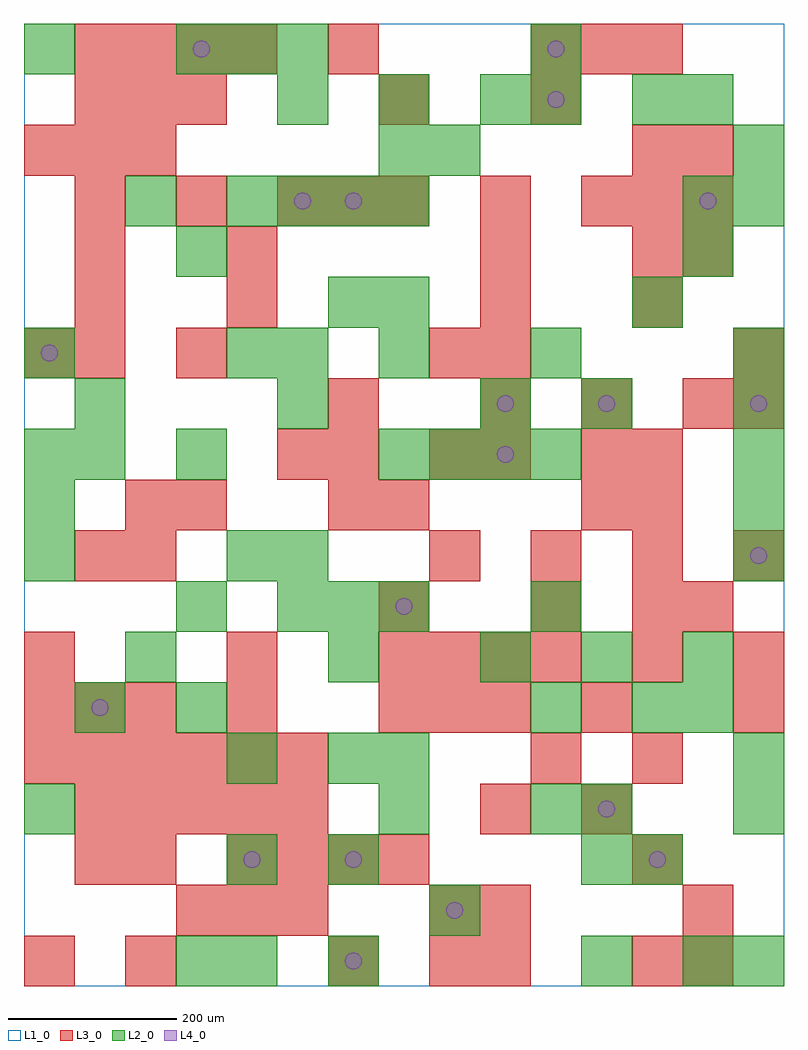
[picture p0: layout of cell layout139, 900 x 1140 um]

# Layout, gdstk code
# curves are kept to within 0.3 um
import gdstk
lib = gdstk.Library(unit=1e-6, precision=1e-09)
def R(c, l, rs):  # rectangles x0, y0, x1, y1
    for r in rs: c.add(gdstk.rectangle(r[:2], r[2:], *l))
def A(c, l, x, y, w, h, nx, ny, dx, dy):  # array of equal rectangles
    R(c, l, [(x+i*dx, y+j*dy, x+i*dx+w, y+j*dy+h) for i in range(nx) for j in range(ny)])
def P(c, l, *ps):  # polygons
    for p in ps: c.add(gdstk.Polygon(p, *l))
L1_0 = (1, 0)
L2_0 = (2, 0)
L3_0 = (3, 0)
L4_0 = (4, 0)

layout139 = lib.new_cell('layout139')
R(layout139, L1_0, [(0,0,900,1140)])
A(layout139, L2_0, 240, 0, 60, 60, 1, 3, 0, 120)
A(layout139, L2_0, 360, 0, 60, 60, 1, 4, 0, 120)
A(layout139, L2_0, 600, 180, 60, 60, 1, 3, 0, 120)
A(layout139, L2_0, 540, 360, 60, 60, 3, 1, 120, 0)
A(layout139, L2_0, 300, 420, 60, 60, 3, 1, 60, 0)
A(layout139, L2_0, 0, 480, 60, 60, 1, 3, 0, 60)
A(layout139, L2_0, 840, 480, 60, 60, 1, 5, 0, 60)
A(layout139, L2_0, 420, 600, 60, 60, 4, 1, 60, 0)
A(layout139, L2_0, 60, 660, 60, 60, 3, 1, 240, 0)
A(layout139, L2_0, 240, 900, 60, 60, 4, 1, 60, 0)
A(layout139, L2_0, 300, 1020, 60, 60, 3, 1, 120, 0)
A(layout139, L2_0, 180, 1080, 60, 60, 3, 1, 60, 0)
R(layout139, L2_0, [(180,0,240,60), (660,0,720,60), (780,0,840,60), (840,0,900,60), (480,60,540,120), (660,120,720,180), (720,120,780,180), (0,180,60,240), (420,180,480,240), (660,180,720,240), (840,180,900,240), (420,240,480,300), (840,240,900,300), (60,300,120,360), (180,300,240,360), (720,300,780,360), (780,300,840,360), (120,360,180,420), (180,420,240,480), (240,480,300,540), (300,480,360,540), (60,600,120,660), (180,600,240,660), (660,660,720,720), (0,720,60,780), (240,720,300,780), (300,720,360,780), (420,720,480,780), (600,720,660,780), (360,780,420,840), (420,780,480,840), (720,780,780,840), (180,840,240,900), (780,840,840,900), (120,900,180,960), (780,900,840,960), (840,900,900,960), (420,960,480,1020), (480,960,540,1020), (840,960,900,1020), (600,1020,660,1080), (720,1020,780,1080), (780,1020,840,1080), (0,1080,60,1140), (600,1080,660,1140)])
A(layout139, L3_0, 0, 0, 60, 60, 1, 3, 0, 360)
A(layout139, L3_0, 720, 0, 60, 60, 1, 4, 0, 120)
A(layout139, L3_0, 180, 60, 60, 60, 3, 1, 60, 0)
A(layout139, L3_0, 240, 120, 60, 60, 4, 1, 60, 0)
A(layout139, L3_0, 60, 180, 60, 60, 5, 1, 60, 0)
A(layout139, L3_0, 0, 240, 60, 60, 6, 1, 60, 0)
A(layout139, L3_0, 0, 300, 60, 60, 3, 2, 60, 660)
A(layout139, L3_0, 420, 300, 60, 60, 3, 1, 60, 0)
A(layout139, L3_0, 420, 360, 60, 60, 4, 1, 60, 0)
A(layout139, L3_0, 480, 480, 60, 60, 4, 1, 120, 0)
A(layout139, L3_0, 360, 540, 60, 60, 1, 3, 0, 60)
A(layout139, L3_0, 540, 660, 60, 60, 3, 1, 120, 0)
A(layout139, L3_0, 60, 720, 60, 60, 1, 3, 0, 60)
A(layout139, L3_0, 540, 720, 60, 60, 1, 3, 0, 60)
A(layout139, L3_0, 720, 780, 60, 60, 1, 4, 0, 60)
A(layout139, L3_0, 780, 840, 60, 60, 1, 3, 0, 60)
A(layout139, L3_0, 60, 900, 60, 60, 3, 1, 120, 0)
A(layout139, L3_0, 420, 900, 60, 60, 3, 1, 120, 0)
A(layout139, L3_0, 60, 1020, 60, 60, 3, 1, 60, 0)
A(layout139, L3_0, 60, 1080, 60, 60, 4, 1, 60, 0)
A(layout139, L3_0, 600, 1080, 60, 60, 3, 1, 60, 0)
R(layout139, L3_0, [(120,0,180,60), (360,0,420,60), (480,0,540,60), (540,0,600,60), (780,0,840,60), (480,60,540,120), (540,60,600,120), (780,60,840,120), (60,120,120,180), (120,120,180,180), (540,180,600,240), (660,180,720,240), (600,240,660,300), (240,300,300,360), (660,300,720,360), (840,300,900,360), (240,360,300,420), (840,360,900,420), (420,420,480,480), (600,420,660,480), (720,420,780,480), (780,420,840,480), (60,480,120,540), (120,480,180,540), (120,540,180,600), (180,540,240,600), (420,540,480,600), (660,540,720,600), (720,540,780,600), (300,600,360,660), (480,600,540,660), (540,600,600,660), (660,600,720,660), (720,600,780,660), (840,660,900,720), (180,720,240,780), (480,720,540,780), (840,720,900,780), (240,780,300,840), (240,840,300,900), (360,900,420,960), (420,1020,480,1080), (600,1020,660,1080), (360,1080,420,1140)])
P(layout139, L4_0, [(40,750),(39.239,753.827),(37.071,757.071),(33.827,759.239),(30,760),(26.173,759.239),(22.929,757.071),(20.761,753.827),(20,750),(20.761,746.173),(22.929,742.929),(26.173,740.761),(30,740),(33.827,740.761),(37.071,742.929),(39.239,746.173)],
  [(100,330),(99.239,333.827),(97.071,337.071),(93.827,339.239),(90,340),(86.173,339.239),(82.929,337.071),(80.761,333.827),(80,330),(80.761,326.173),(82.929,322.929),(86.173,320.761),(90,320),(93.827,320.761),(97.071,322.929),(99.239,326.173)],
  [(220,1110),(219.239,1113.827),(217.071,1117.071),(213.827,1119.239),(210,1120),(206.173,1119.239),(202.929,1117.071),(200.761,1113.827),(200,1110),(200.761,1106.173),(202.929,1102.929),(206.173,1100.761),(210,1100),(213.827,1100.761),(217.071,1102.929),(219.239,1106.173)],
  [(280,150),(279.239,153.827),(277.071,157.071),(273.827,159.239),(270,160),(266.173,159.239),(262.929,157.071),(260.761,153.827),(260,150),(260.761,146.173),(262.929,142.929),(266.173,140.761),(270,140),(273.827,140.761),(277.071,142.929),(279.239,146.173)],
  [(340,930),(339.239,933.827),(337.071,937.071),(333.827,939.239),(330,940),(326.173,939.239),(322.929,937.071),(320.761,933.827),(320,930),(320.761,926.173),(322.929,922.929),(326.173,920.761),(330,920),(333.827,920.761),(337.071,922.929),(339.239,926.173)],
  [(400,30),(399.239,33.827),(397.071,37.071),(393.827,39.239),(390,40),(386.173,39.239),(382.929,37.071),(380.761,33.827),(380,30),(380.761,26.173),(382.929,22.929),(386.173,20.761),(390,20),(393.827,20.761),(397.071,22.929),(399.239,26.173)],
  [(400,150),(399.239,153.827),(397.071,157.071),(393.827,159.239),(390,160),(386.173,159.239),(382.929,157.071),(380.761,153.827),(380,150),(380.761,146.173),(382.929,142.929),(386.173,140.761),(390,140),(393.827,140.761),(397.071,142.929),(399.239,146.173)],
  [(400,930),(399.239,933.827),(397.071,937.071),(393.827,939.239),(390,940),(386.173,939.239),(382.929,937.071),(380.761,933.827),(380,930),(380.761,926.173),(382.929,922.929),(386.173,920.761),(390,920),(393.827,920.761),(397.071,922.929),(399.239,926.173)],
  [(460,450),(459.239,453.827),(457.071,457.071),(453.827,459.239),(450,460),(446.173,459.239),(442.929,457.071),(440.761,453.827),(440,450),(440.761,446.173),(442.929,442.929),(446.173,440.761),(450,440),(453.827,440.761),(457.071,442.929),(459.239,446.173)],
  [(520,90),(519.239,93.827),(517.071,97.071),(513.827,99.239),(510,100),(506.173,99.239),(502.929,97.071),(500.761,93.827),(500,90),(500.761,86.173),(502.929,82.929),(506.173,80.761),(510,80),(513.827,80.761),(517.071,82.929),(519.239,86.173)],
  [(580,630),(579.239,633.827),(577.071,637.071),(573.827,639.239),(570,640),(566.173,639.239),(562.929,637.071),(560.761,633.827),(560,630),(560.761,626.173),(562.929,622.929),(566.173,620.761),(570,620),(573.827,620.761),(577.071,622.929),(579.239,626.173)],
  [(580,690),(579.239,693.827),(577.071,697.071),(573.827,699.239),(570,700),(566.173,699.239),(562.929,697.071),(560.761,693.827),(560,690),(560.761,686.173),(562.929,682.929),(566.173,680.761),(570,680),(573.827,680.761),(577.071,682.929),(579.239,686.173)],
  [(640,1050),(639.239,1053.827),(637.071,1057.071),(633.827,1059.239),(630,1060),(626.173,1059.239),(622.929,1057.071),(620.761,1053.827),(620,1050),(620.761,1046.173),(622.929,1042.929),(626.173,1040.761),(630,1040),(633.827,1040.761),(637.071,1042.929),(639.239,1046.173)],
  [(640,1110),(639.239,1113.827),(637.071,1117.071),(633.827,1119.239),(630,1120),(626.173,1119.239),(622.929,1117.071),(620.761,1113.827),(620,1110),(620.761,1106.173),(622.929,1102.929),(626.173,1100.761),(630,1100),(633.827,1100.761),(637.071,1102.929),(639.239,1106.173)],
  [(700,210),(699.239,213.827),(697.071,217.071),(693.827,219.239),(690,220),(686.173,219.239),(682.929,217.071),(680.761,213.827),(680,210),(680.761,206.173),(682.929,202.929),(686.173,200.761),(690,200),(693.827,200.761),(697.071,202.929),(699.239,206.173)],
  [(700,690),(699.239,693.827),(697.071,697.071),(693.827,699.239),(690,700),(686.173,699.239),(682.929,697.071),(680.761,693.827),(680,690),(680.761,686.173),(682.929,682.929),(686.173,680.761),(690,680),(693.827,680.761),(697.071,682.929),(699.239,686.173)],
  [(760,150),(759.239,153.827),(757.071,157.071),(753.827,159.239),(750,160),(746.173,159.239),(742.929,157.071),(740.761,153.827),(740,150),(740.761,146.173),(742.929,142.929),(746.173,140.761),(750,140),(753.827,140.761),(757.071,142.929),(759.239,146.173)],
  [(820,930),(819.239,933.827),(817.071,937.071),(813.827,939.239),(810,940),(806.173,939.239),(802.929,937.071),(800.761,933.827),(800,930),(800.761,926.173),(802.929,922.929),(806.173,920.761),(810,920),(813.827,920.761),(817.071,922.929),(819.239,926.173)],
  [(880,510),(879.239,513.827),(877.071,517.071),(873.827,519.239),(870,520),(866.173,519.239),(862.929,517.071),(860.761,513.827),(860,510),(860.761,506.173),(862.929,502.929),(866.173,500.761),(870,500),(873.827,500.761),(877.071,502.929),(879.239,506.173)],
  [(880,690),(879.239,693.827),(877.071,697.071),(873.827,699.239),(870,700),(866.173,699.239),(862.929,697.071),(860.761,693.827),(860,690),(860.761,686.173),(862.929,682.929),(866.173,680.761),(870,680),(873.827,680.761),(877.071,682.929),(879.239,686.173)])

lib.write_gds('layout139.gds')
